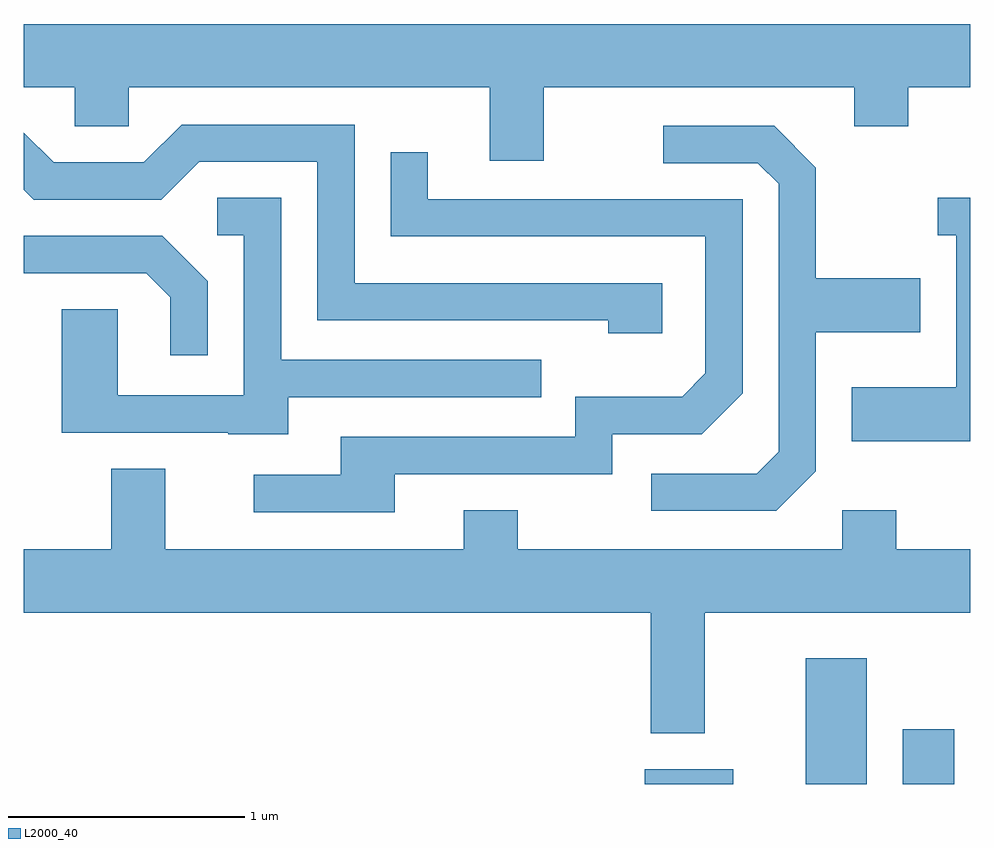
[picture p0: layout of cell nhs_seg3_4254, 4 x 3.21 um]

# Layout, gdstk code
import gdstk
lib = gdstk.Library(unit=1e-6, precision=1e-09)
def R(c, l, rs):  # rectangles x0, y0, x1, y1
    for r in rs: c.add(gdstk.rectangle(r[:2], r[2:], *l))
def P(c, l, *ps):  # polygons
    for p in ps: c.add(gdstk.Polygon(p, *l))
L2000_40 = (2000, 40)

nhs_seg3_4254 = lib.new_cell('nhs_seg3_4254')
R(nhs_seg3_4254, L2000_40, [(312.236,1191.892,312.609,1191.954), (312.916,1191.892,313.174,1192.424), (313.326,1191.892,313.544,1192.124)])
P(nhs_seg3_4254, L2000_40, [(311.809,1194.836),(313.121,1194.836),(313.121,1194.671),(313.349,1194.671),(313.349,1194.836),(313.611,1194.836),(313.611,1195.104),(309.611,1195.104),(309.611,1194.836),(309.826,1194.836),(309.826,1194.671),(310.054,1194.671),(310.054,1194.836),(311.581,1194.836),(311.581,1194.526),(311.809,1194.526)],
  [(312.309,1194.009),(311.009,1194.009),(311.009,1194.679),(310.279,1194.679),(310.119,1194.519),(309.737,1194.519),(309.611,1194.645),(309.611,1194.404),(309.654,1194.361),(310.192,1194.361),(310.352,1194.521),(310.851,1194.521),(310.851,1193.851),(312.081,1193.851),(312.081,1193.796),(312.309,1193.796)],
  [(312.959,1193.214),(312.959,1193.801),(313.399,1193.801),(313.399,1194.029),(312.959,1194.029),(312.959,1194.497),(312.782,1194.674),(312.313,1194.674),(312.313,1194.516),(312.714,1194.516),(312.801,1194.429),(312.801,1193.297),(312.709,1193.204),(312.263,1193.204),(312.263,1193.046),(312.792,1193.046)],
  [(311.179,1193.201),(312.099,1193.201),(312.099,1193.371),(312.477,1193.371),(312.649,1193.544),(312.649,1194.364),(311.319,1194.364),(311.319,1194.563),(311.161,1194.563),(311.161,1194.206),(312.491,1194.206),(312.491,1193.627),(312.394,1193.529),(311.941,1193.529),(311.941,1193.359),(310.951,1193.359),(310.951,1193.199),(310.583,1193.199),(310.583,1193.041),(311.179,1193.041)],
  [(313.611,1194.369),(313.473,1194.369),(313.473,1194.211),(313.551,1194.211),(313.551,1193.569),(313.111,1193.569),(313.111,1193.341),(313.611,1193.341)],
  [(310.729,1193.526),(311.798,1193.526),(311.798,1193.684),(310.699,1193.684),(310.699,1194.369),(310.428,1194.369),(310.428,1194.211),(310.541,1194.211),(310.541,1193.534),(310.009,1193.534),(310.009,1193.899),(309.771,1193.899),(309.771,1193.376),(310.475,1193.376),(310.475,1193.371),(310.729,1193.371)],
  [(310.389,1194.017),(310.197,1194.209),(309.611,1194.209),(309.611,1194.051),(310.129,1194.051),(310.231,1193.949),(310.231,1193.703),(310.389,1193.703)],
  [(312.489,1192.616),(313.611,1192.616),(313.611,1192.884),(313.299,1192.884),(313.299,1193.049),(313.071,1193.049),(313.071,1192.884),(311.699,1192.884),(311.699,1193.049),(311.471,1193.049),(311.471,1192.884),(310.209,1192.884),(310.209,1193.224),(309.981,1193.224),(309.981,1192.884),(309.611,1192.884),(309.611,1192.616),(312.261,1192.616),(312.261,1192.106),(312.489,1192.106)])

lib.write_gds('nhs_seg3_4254.gds')
